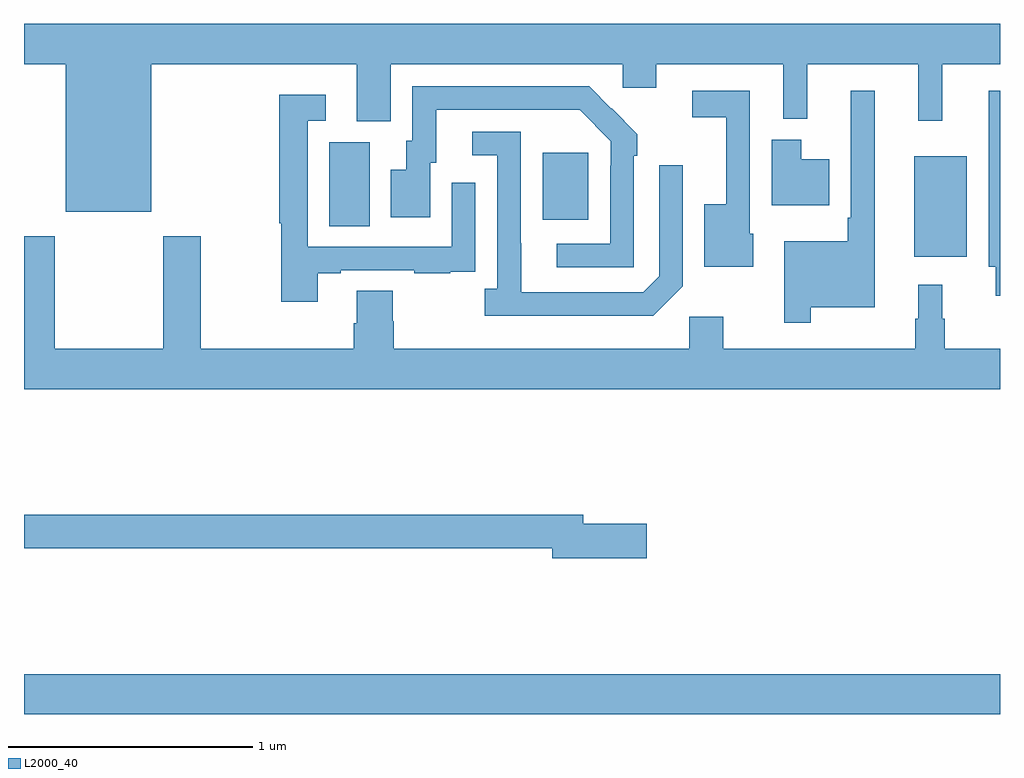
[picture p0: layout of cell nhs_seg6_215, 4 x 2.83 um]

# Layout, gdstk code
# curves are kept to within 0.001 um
import gdstk
lib = gdstk.Library(unit=1e-6, precision=1e-09)
def R(c, l, rs):  # rectangles x0, y0, x1, y1
    for r in rs: c.add(gdstk.rectangle(r[:2], r[2:], *l))
def P(c, l, *ps):  # polygons
    for p in ps: c.add(gdstk.Polygon(p, *l))
L2000_40 = (2000, 40)

nhs_seg6_215 = lib.new_cell('nhs_seg6_215')
R(nhs_seg6_215, L2000_40, [(121,965.984,125,966.148), (124.649,967.859,124.864,968.269), (122.252,967.984,122.416,968.328), (123.125,968.009,123.313,968.284)])
P(nhs_seg6_215, L2000_40, [(121.522,968.648),(122.363,968.648),(122.363,968.413),(122.503,968.413),(122.503,968.648),(123.453,968.648),(123.453,968.55),(123.592,968.55),(123.592,968.648),(124.112,968.648),(124.112,968.423),(124.211,968.423),(124.211,968.648),(124.664,968.648),(124.664,968.415),(124.763,968.415),(124.763,968.648),(125,968.648),(125,968.812),(121,968.812),(121,968.648),(121.172,968.648),(121.172,968.042),(121.522,968.042)],
  [(123.498,968.273),(123.513,968.273),(123.513,968.361),(123.316,968.556),(122.592,968.556),(122.592,968.334),(122.567,968.334),(122.567,968.215),(122.504,968.215),(122.504,968.019),(122.665,968.019),(122.665,968.244),(122.689,968.244),(122.689,968.46),(123.277,968.46),(123.405,968.331),(123.405,968.231),(123.402,968.231),(123.402,967.911),(123.183,967.911),(123.183,967.815),(123.498,967.815)],
  [(124.225,967.652),(124.486,967.652),(124.486,968.539),(124.389,968.539),(124.389,968.017),(124.377,968.017),(124.377,967.921),(124.116,967.921),(124.116,967.587),(124.225,967.587)],
  [(125,968.538),(124.953,968.538),(124.953,967.817),(124.982,967.817),(124.982,967.698),(125,967.698)],
  [(123.988,967.953),(123.975,967.953),(123.975,968.538),(123.738,968.538),(123.738,968.43),(123.878,968.43),(123.878,968.074),(123.788,968.074),(123.788,967.817),(123.988,967.817)],
  [(122.203,967.791),(122.299,967.791),(122.299,967.803),(122.599,967.803),(122.599,967.791),(122.747,967.791),(122.747,967.797),(122.849,967.797),(122.849,967.906),(122.85,967.906),(122.85,968.161),(122.754,968.161),(122.754,967.899),(122.163,967.899),(122.163,968.415),(122.236,968.415),(122.236,968.521),(122.047,968.521),(122.047,967.996),(122.055,967.996),(122.055,967.674),(122.203,967.674)],
  [(123.699,967.737),(123.699,968.233),(123.603,968.233),(123.603,967.779),(123.537,967.713),(123.037,967.713),(123.036,968.37),(122.838,968.37),(122.838,968.274),(122.94,968.274),(122.94,967.726),(122.889,967.726),(122.889,967.616),(123.578,967.616)],
  [(124.3,968.257),(124.186,968.257),(124.186,968.338),(124.064,968.338),(124.064,968.069),(124.3,968.069)],
  [(125,967.48),(124.774,967.48),(124.774,967.604),(124.764,967.604),(124.764,967.744),(124.664,967.744),(124.664,967.604),(124.653,967.604),(124.653,967.48),(123.865,967.48),(123.865,967.612),(123.726,967.612),(123.726,967.48),(122.516,967.48),(122.516,967.593),(122.511,967.593),(122.511,967.718),(122.363,967.718),(122.363,967.586),(122.351,967.586),(122.351,967.48),(121.725,967.48),(121.725,967.942),(121.57,967.942),(121.57,967.48),(121.125,967.48),(121.125,967.942),(121,967.942),(121,967.316),(125,967.316)],
  [(123.553,966.764),(123.292,966.764),(123.292,966.8),(121,966.8),(121,966.664),(123.164,966.664),(123.164,966.622),(123.553,966.622)])

lib.write_gds('nhs_seg6_215.gds')
